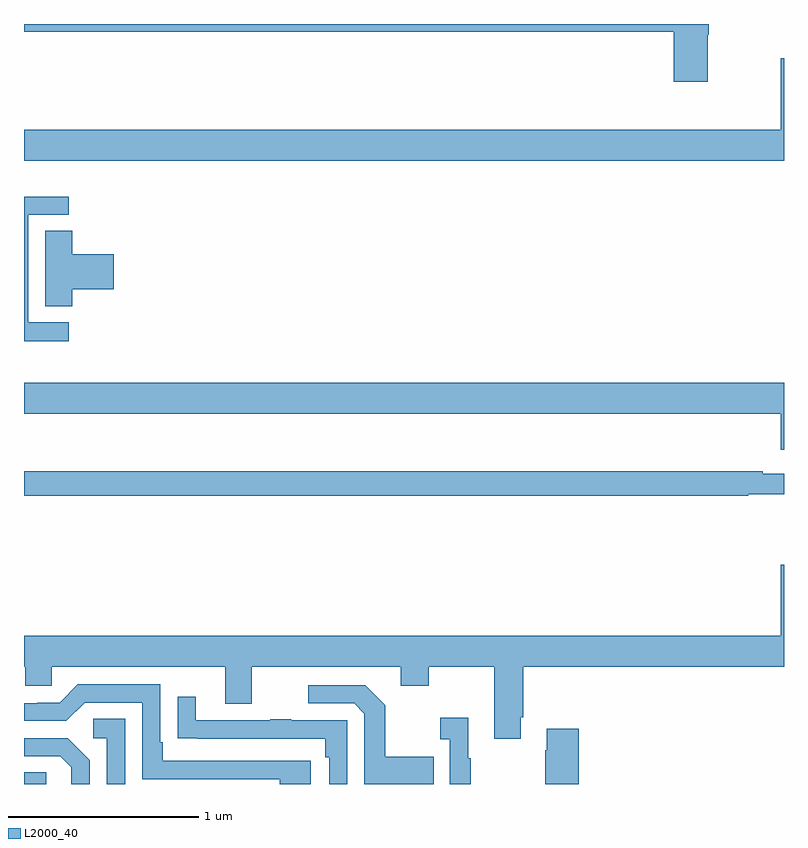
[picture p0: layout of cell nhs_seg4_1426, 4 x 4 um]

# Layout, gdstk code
import gdstk
lib = gdstk.Library(unit=1e-6, precision=1e-09)
def R(c, l, rs):  # rectangles x0, y0, x1, y1
    for r in rs: c.add(gdstk.rectangle(r[:2], r[2:], *l))
def P(c, l, *ps):  # polygons
    for p in ps: c.add(gdstk.Polygon(p, *l))
L2000_40 = (2000, 40)

nhs_seg4_1426 = lib.new_cell('nhs_seg4_1426')
R(nhs_seg4_1426, L2000_40, [(185,766.9,185.118,766.961)])
P(nhs_seg4_1426, L2000_40, [(188.598,770.843),(188.603,770.843),(188.603,770.9),(185,770.9),(185,770.86),(188.42,770.86),(188.42,770.595),(188.598,770.595)],
  [(189,770.719),(188.984,770.719),(188.984,770.344),(185,770.344),(185,770.18),(189,770.18)],
  [(185.236,769.329),(185.022,769.329),(185.022,769.896),(185.236,769.896),(185.236,769.992),(185,769.992),(185,769.231),(185.236,769.231)],
  [(185.255,769.505),(185.473,769.505),(185.473,769.688),(185.255,769.688),(185.255,769.811),(185.111,769.811),(185.111,769.414),(185.255,769.414)],
  [(189,769.012),(185,769.012),(185,768.848),(188.984,768.848),(188.984,768.66),(189,768.66)],
  [(188.812,768.426),(189,768.426),(189,768.534),(188.888,768.534),(188.888,768.547),(185,768.547),(185,768.418),(188.812,768.418)],
  [(187.615,767.251),(187.628,767.251),(187.628,767.516),(189,767.516),(189,768.055),(188.984,768.055),(188.984,767.68),(185,767.68),(185,767.516),(185.007,767.516),(185.007,767.418),(185.145,767.418),(185.145,767.516),(186.059,767.516),(186.059,767.322),(186.199,767.322),(186.199,767.516),(186.983,767.516),(186.983,767.417),(187.131,767.417),(187.131,767.516),(187.475,767.516),(187.475,767.139),(187.615,767.139)],
  [(186.508,767.022),(185.731,767.022),(185.731,767.119),(185.718,767.119),(185.718,767.424),(185.283,767.424),(185.187,767.328),(185.069,767.328),(185.069,767.325),(185,767.325),(185,767.232),(185.223,767.232),(185.319,767.328),(185.622,767.328),(185.622,766.926),(186.347,766.926),(186.347,766.9),(186.508,766.9)],
  [(187.157,767.043),(186.901,767.043),(186.901,767.315),(186.795,767.421),(186.495,767.421),(186.495,767.325),(186.738,767.325),(186.792,767.271),(186.792,766.9),(187.157,766.9)],
  [(186.702,767.235),(186.407,767.235),(186.407,767.24),(186.295,767.24),(186.295,767.235),(185.905,767.235),(185.905,767.359),(185.809,767.359),(185.809,767.14),(185.911,767.14),(185.911,767.139),(186.586,767.139),(186.586,767.042),(186.606,767.042),(186.606,766.9),(186.702,766.9)],
  [(187.351,767.035),(187.339,767.035),(187.339,767.248),(187.191,767.248),(187.191,767.135),(187.242,767.135),(187.242,766.9),(187.351,766.9)],
  [(185.532,767.243),(185.364,767.243),(185.364,767.142),(185.436,767.142),(185.436,766.9),(185.532,766.9)],
  [(187.919,767.191),(187.751,767.191),(187.751,767.078),(187.744,767.078),(187.744,766.9),(187.919,766.9)],
  [(185.346,767.026),(185.23,767.142),(185,767.142),(185,767.046),(185.192,767.046),(185.249,766.989),(185.249,766.9),(185.346,766.9)])

lib.write_gds('nhs_seg4_1426.gds')
